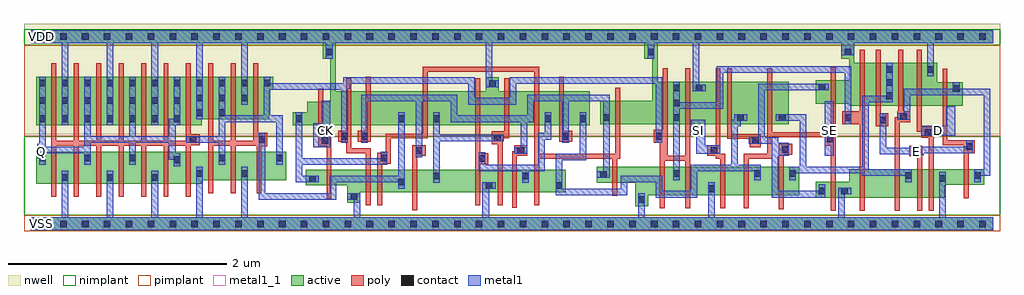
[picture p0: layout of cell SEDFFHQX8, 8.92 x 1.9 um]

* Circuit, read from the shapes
.subckt SEDFFHQX8 CK D E Q SE SI VDD VSS
M1 VSS n1 Q VSS nfet w=0.295u l=0.045u m=7
M2 n1 n2 VSS VSS nfet w=0.26u l=0.045u m=3
M3 VSS CK n3 VSS nfet w=0.145u l=0.045u
M4 n4 n1 VSS VSS nfet w=0.205u l=0.045u
M5 n2 n3 n4 VSS nfet w=0.205u l=0.045u
M6 n5 n6 n2 VSS nfet w=0.205u l=0.045u
M7 VSS n7 n5 VSS nfet w=0.205u l=0.045u
M8 n8 n5 VSS VSS nfet w=0.205u l=0.045u
M9 n7 n6 n8 VSS nfet w=0.205u l=0.045u
M10 n9 n3 n7 VSS nfet w=0.205u l=0.045u
M11 VSS n3 n6 VSS nfet w=0.145u l=0.045u
M12 n10 n1 VSS VSS nfet w=0.26u l=0.045u m=2
M13 n11 SI VSS VSS nfet w=0.26u l=0.045u
M14 n9 SE n11 VSS nfet w=0.26u l=0.045u
M15 n12 n13 n9 VSS nfet w=0.26u l=0.045u
M16 VSS SE n13 VSS nfet w=0.145u l=0.045u
M17 n14 n10 VSS VSS nfet w=0.26u l=0.045u
M18 n12 n15 n14 VSS nfet w=0.26u l=0.045u
M19 n16 E n12 VSS nfet w=0.26u l=0.045u
M20 VSS D n16 VSS nfet w=0.26u l=0.045u
M21 n15 E VSS VSS nfet w=0.145u l=0.045u
M22 VDD n1 Q VDD pfet w=0.445u l=0.045u m=7
M23 n1 n2 VDD VDD pfet w=0.39u l=0.045u m=3
M24 VDD CK n3 VDD pfet w=0.215u l=0.045u
M25 n17 n1 VDD VDD pfet w=0.31u l=0.045u
M26 n2 n6 n17 VDD pfet w=0.31u l=0.045u
M27 n5 n3 n2 VDD pfet w=0.31u l=0.045u
M28 VDD n7 n5 VDD pfet w=0.31u l=0.045u
M29 n18 n5 VDD VDD pfet w=0.31u l=0.045u
M30 n7 n3 n18 VDD pfet w=0.31u l=0.045u
M31 n9 n6 n7 VDD pfet w=0.31u l=0.045u
M32 VDD n3 n6 VDD pfet w=0.215u l=0.045u
M33 n10 n1 VDD VDD pfet w=0.39u l=0.045u m=2
M34 n19 SI VDD VDD pfet w=0.39u l=0.045u
M35 n9 n13 n19 VDD pfet w=0.39u l=0.045u
M36 n12 SE n9 VDD pfet w=0.39u l=0.045u
M37 VDD SE n13 VDD pfet w=0.215u l=0.045u
M38 n20 n10 VDD VDD pfet w=0.39u l=0.045u
M39 n12 E n20 VDD pfet w=0.39u l=0.045u
M40 n21 n15 n12 VDD pfet w=0.39u l=0.045u
M41 VDD D n21 VDD pfet w=0.39u l=0.045u
M42 n15 E VDD VDD pfet w=0.215u l=0.045u
.ends

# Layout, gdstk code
import gdstk
lib = gdstk.Library(unit=1e-6, precision=5e-10)
def R(c, l, rs):  # rectangles x0, y0, x1, y1
    for r in rs: c.add(gdstk.rectangle(r[:2], r[2:], *l))
def A(c, l, x, y, w, h, nx, ny, dx, dy):  # array of equal rectangles
    R(c, l, [(x+i*dx, y+j*dy, x+i*dx+w, y+j*dy+h) for i in range(nx) for j in range(ny)])
def P(c, l, *ps):  # polygons
    for p in ps: c.add(gdstk.Polygon(p, *l))
active = (1, 0)
nwell = (2, 0)
poly = (3, 0)
nimplant = (4, 0)
pimplant = (5, 0)
contact = (6, 0)
metal1 = (7, 0)
metal1_1 = (7, 1)

sedffhqx8 = lib.new_cell('SEDFFHQX8')
R(sedffhqx8, active, [(0,-0.06,8.8,0.06)])
P(sedffhqx8, active, [(0,1.77),(8.8,1.77),(8.8,1.65),(7.53,1.65),(7.53,1.47),(8.285,1.47),(8.285,1.295),(8.52,1.295),(8.52,1.08),(7.48,1.08),(7.48,1.095),(7.175,1.095),(7.175,1.31),(7.48,1.31),(7.48,1.51),(7.41,1.51),(7.41,1.65),(5.73,1.65),(5.73,1.3),(6.93,1.3),(6.93,0.91),(5.205,0.91),(5.205,1.125),(5.68,1.125),(5.68,1.51),(5.61,1.51),(5.61,1.65),(2.79,1.65),(2.79,1.21),(4.16,1.21),(4.16,1.34),(4.28,1.34),(4.28,1.21),(5.11,1.21),(5.11,0.9),(2.395,0.9),(2.395,1.02),(2.53,1.02),(2.53,1.115),(2.74,1.115),(2.74,1.51),(2.67,1.51),(2.67,1.65),(0,1.65)],
  [(0.05,1.345),(2.22,1.345),(2.22,1.225),(2.18,1.225),(2.18,0.955),(1.565,0.955),(1.565,0.9),(0.05,0.9)],
  [(0.05,0.66),(2.335,0.66),(2.335,0.4),(1.565,0.4),(1.565,0.365),(0.05,0.365)],
  [(5.175,0.52),(7.025,0.52),(7.025,0.26),(5.645,0.26),(5.645,0.16),(5.525,0.16),(5.525,0.375),(5.175,0.375)],
  [(2.515,0.495),(4.89,0.495),(4.89,0.29),(3.015,0.29),(3.015,0.19),(2.895,0.19),(2.895,0.35),(2.515,0.35)],
  [(7.48,0.5),(8.715,0.5),(8.715,0.355),(8.355,0.355),(8.355,0.24),(7.175,0.24),(7.175,0.385),(7.48,0.385)])
R(sedffhqx8, nwell, [(-0.06,0.82,8.86,1.83)])
P(sedffhqx8, poly, [(0.19,1.465),(0.235,1.465),(0.235,0.76),(0.395,0.76),(0.395,1.465),(0.44,1.465),(0.44,0.76),(0.6,0.76),(0.6,1.465),(0.645,1.465),(0.645,0.76),(0.805,0.76),(0.805,1.465),(0.85,1.465),(0.85,0.76),(1.01,0.76),(1.01,1.465),(1.055,1.465),(1.055,0.76),(1.215,0.76),(1.215,1.465),(1.26,1.465),(1.26,0.76),(1.42,0.76),(1.42,1.465),(1.465,1.465),(1.465,0.82),(1.545,0.82),(1.545,0.72),(1.465,0.72),(1.465,0.245),(1.42,0.245),(1.42,0.715),(1.26,0.715),(1.26,0.245),(1.215,0.245),(1.215,0.715),(1.055,0.715),(1.055,0.245),(1.01,0.245),(1.01,0.715),(0.85,0.715),(0.85,0.245),(0.805,0.245),(0.805,0.715),(0.645,0.715),(0.645,0.245),(0.6,0.245),(0.6,0.715),(0.44,0.715),(0.44,0.245),(0.395,0.245),(0.395,0.715),(0.235,0.715),(0.235,0.245),(0.19,0.245)],
  [(1.625,1.465),(1.67,1.465),(1.67,0.76),(1.83,0.76),(1.83,1.465),(1.875,1.465),(1.875,0.76),(2.035,0.76),(2.035,1.465),(2.08,1.465),(2.08,0.83),(2.165,0.83),(2.165,0.71),(2.11,0.71),(2.11,0.28),(2.065,0.28),(2.065,0.715),(1.875,0.715),(1.875,0.28),(1.83,0.28),(1.83,0.715),(1.67,0.715),(1.67,0.28),(1.625,0.28)],
  [(3.585,1.435),(4.65,1.435),(4.65,0.64),(5.345,0.64),(5.345,1.245),(5.39,1.245),(5.39,0.595),(5.36,0.595),(5.36,0.255),(5.315,0.255),(5.315,0.595),(4.65,0.595),(4.65,0.17),(4.605,0.17),(4.605,1.39),(3.63,1.39),(3.63,0.78),(3.29,0.78),(3.29,0.55),(3.215,0.55),(3.215,0.17),(3.17,0.17),(3.17,0.65),(3.245,0.65),(3.245,0.825),(3.585,0.825)],
  [(2.63,1.235),(2.675,1.235),(2.675,0.81),(2.75,0.81),(2.75,0.23),(2.705,0.23),(2.705,0.71),(2.63,0.71)],
  [(2.885,1.33),(2.93,1.33),(2.93,0.69),(3.11,0.69),(3.11,0.17),(3.065,0.17),(3.065,0.645),(2.885,0.645),(2.885,0.75),(2.81,0.75),(2.81,0.85),(2.885,0.85)],
  [(3.065,1.345),(3.11,1.345),(3.11,0.75),(2.99,0.75),(2.99,0.85),(3.065,0.85)],
  [(4.065,1.33),(4.11,1.33),(4.11,0.645),(4.185,0.645),(4.185,0.545),(4.11,0.545),(4.11,0.17),(4.065,0.17)],
  [(4.33,1.33),(4.375,1.33),(4.375,0.78),(4.315,0.78),(4.315,0.17),(4.27,0.17),(4.27,0.725),(4.215,0.725),(4.215,0.845),(4.33,0.845)],
  [(4.83,1.345),(4.875,1.345),(4.875,0.85),(4.95,0.85),(4.95,0.75),(4.83,0.75)],
  [(5.78,1.42),(5.825,1.42),(5.825,0.62),(5.985,0.62),(5.985,1.42),(6.03,1.42),(6.03,0.14),(5.985,0.14),(5.985,0.575),(5.795,0.575),(5.795,0.14),(5.75,0.14),(5.75,0.74),(5.695,0.74),(5.695,0.86),(5.78,0.86)],
  [(6.26,1.42),(6.305,1.42),(6.305,0.64),(6.35,0.64),(6.35,0.14),(6.305,0.14),(6.305,0.595),(6.26,0.595),(6.26,0.62),(6.185,0.62),(6.185,0.72),(6.26,0.72)],
  [(6.365,1.42),(6.41,1.42),(6.41,0.82),(6.675,0.82),(6.675,0.7),(6.575,0.7),(6.575,0.775),(6.365,0.775)],
  [(6.735,1.42),(6.78,1.42),(6.78,0.835),(7.315,0.835),(7.315,1.43),(7.36,1.43),(7.36,0.12),(7.315,0.12),(7.315,0.715),(7.26,0.715),(7.26,0.79),(6.78,0.79),(6.78,0.595),(6.565,0.595),(6.565,0.14),(6.52,0.14),(6.52,0.64),(6.735,0.64)],
  [(7.58,1.59),(7.625,1.59),(7.625,0.12),(7.58,0.12),(7.58,0.91),(7.42,0.91),(7.42,1.03),(7.58,1.03)],
  [(7.725,1.59),(7.77,1.59),(7.77,1.01),(7.84,1.01),(7.84,0.89),(7.725,0.89)],
  [(7.93,1.59),(7.975,1.59),(7.975,1.03),(8.04,1.03),(8.04,0.93),(7.945,0.93),(7.945,0.12),(7.9,0.12),(7.9,0.975),(7.92,0.975),(7.92,1.03),(7.93,1.03)],
  [(8.1,1.59),(8.145,1.59),(8.145,0.885),(8.26,0.885),(8.26,0.785),(8.255,0.785),(8.255,0.12),(8.21,0.12),(8.21,0.785),(8.14,0.785),(8.14,0.84),(8.1,0.84)],
  [(8.335,1.415),(8.38,1.415),(8.38,0.765),(8.63,0.765),(8.63,0.645),(8.575,0.645),(8.575,0.235),(8.53,0.235),(8.53,0.72),(8.335,0.72)],
  [(6.84,0.73),(6.96,0.73),(6.96,0.63),(6.885,0.63),(6.885,0.135),(6.84,0.135)],
  [(3.49,0.72),(3.61,0.72),(3.61,0.62),(3.535,0.62),(3.535,0.125),(3.49,0.125)],
  [(4.42,0.72),(4.54,0.72),(4.54,0.62),(4.445,0.62),(4.445,0.145),(4.4,0.145),(4.4,0.665),(4.42,0.665)],
  [(8.03,0.715),(8.15,0.715),(8.15,0.12),(8.105,0.12),(8.105,0.615),(8.03,0.615)])
R(sedffhqx8, nimplant, [(-0.06,0.08,8.86,0.8), (-0.06,1.63,8.86,1.78)])
R(sedffhqx8, pimplant, [(-0.06,-0.07,8.86,0.08), (-0.06,0.8,8.86,1.63)])
A(sedffhqx8, contact, 0.07, -0.03, 0.06, 0.06, 44, 2, 0.2, 1.71)
A(sedffhqx8, contact, 0.285, 0.395, 0.06, 0.06, 3, 1, 0.41, 0)
A(sedffhqx8, contact, 0.08, 0.57, 0.06, 0.06, 3, 1, 0.41, 0)
A(sedffhqx8, contact, 0.08, 0.93, 0.06, 0.06, 7, 2, 0.205, 0.165)
A(sedffhqx8, contact, 5.875, 0.94, 0.06, 0.06, 1, 3, 0, 0.135)
A(sedffhqx8, contact, 1.515, 1.12, 0.06, 0.06, 3, 1, 0.205, 0)
A(sedffhqx8, contact, 7.82, 1.14, 0.06, 0.06, 1, 3, 0, 0.12)
A(sedffhqx8, contact, 0.08, 1.255, 0.06, 0.06, 11, 1, 0.205, 0)
R(sedffhqx8, contact, [(5.555,0.19,5.615,0.25), (2.925,0.22,2.985,0.28), (7.205,0.27,7.265,0.33), (7.41,0.27,7.47,0.33), (6.195,0.29,6.255,0.35), (4.16,0.32,4.22,0.38), (4.8,0.32,4.86,0.38), (3.36,0.35,3.42,0.41), (2.545,0.38,2.605,0.44), (8.305,0.385,8.365,0.445), (3.68,0.405,3.74,0.465), (4.495,0.405,4.555,0.465), (7.995,0.41,8.055,0.47), (8.625,0.41,8.685,0.47), (5.205,0.42,5.265,0.48), (1.515,0.43,1.575,0.49), (1.925,0.43,1.985,0.49), (5.875,0.43,5.935,0.49), (6.615,0.43,6.675,0.49), (6.935,0.43,6.995,0.49), (1.31,0.555,1.37,0.615), (4.095,0.565,4.155,0.625), (1.72,0.57,1.78,0.63), (2.245,0.57,2.305,0.63), (3.2,0.57,3.26,0.63), (8.06,0.635,8.12,0.695), (3.52,0.64,3.58,0.7), (4.45,0.64,4.51,0.7), (6.215,0.64,6.275,0.7), (6.87,0.65,6.93,0.71), (8.55,0.675,8.61,0.735), (2.66,0.73,2.72,0.79), (6.595,0.73,6.655,0.79), (1.455,0.74,1.515,0.8), (2.085,0.74,2.145,0.8), (7.28,0.745,7.34,0.805), (4.235,0.755,4.295,0.815), (2.84,0.77,2.9,0.83), (3.02,0.77,3.08,0.83), (4.86,0.77,4.92,0.83), (5.715,0.77,5.775,0.83), (8.17,0.805,8.23,0.865), (7.76,0.92,7.82,0.98), (2.425,0.93,2.485,0.99), (3.36,0.93,3.42,0.99), (3.68,0.93,3.74,0.99), (4.7,0.93,4.76,0.99), (5.02,0.93,5.08,0.99), (5.235,0.94,5.295,1), (6.46,0.94,6.52,1), (6.84,0.94,6.9,1), (7.44,0.94,7.5,1), (7.95,0.95,8.01,1.01), (1.515,0.985,1.575,1.045), (1.72,0.985,1.78,1.045), (8.43,1.205,8.49,1.265), (6.08,1.21,6.14,1.27), (7.205,1.22,7.265,1.28), (4.19,1.25,4.25,1.31), (8.195,1.38,8.255,1.44), (2.7,1.54,2.76,1.6), (5.64,1.54,5.7,1.6), (7.44,1.54,7.5,1.6)])
R(sedffhqx8, metal1, [(7.26,0.62,7.34,1.12)])
P(sedffhqx8, metal1, [(0,1.77),(8.8,1.77),(8.8,1.65),(8.255,1.65),(8.255,1.35),(8.195,1.35),(8.195,1.65),(7.53,1.65),(7.53,1.54),(7.41,1.54),(7.41,1.65),(6.11,1.65),(6.11,1.27),(6.17,1.27),(6.17,1.21),(6.05,1.21),(6.05,1.65),(5.7,1.65),(5.7,1.51),(5.64,1.51),(5.64,1.65),(4.22,1.65),(4.22,1.31),(4.28,1.31),(4.28,1.25),(4.16,1.25),(4.16,1.65),(2.76,1.65),(2.76,1.51),(2.7,1.51),(2.7,1.65),(1.985,1.65),(1.985,1.09),(1.925,1.09),(1.925,1.65),(1.575,1.65),(1.575,0.955),(1.515,0.955),(1.515,1.65),(1.165,1.65),(1.165,0.9),(1.105,0.9),(1.105,1.65),(0.755,1.65),(0.755,0.9),(0.695,0.9),(0.695,1.65),(0.345,1.65),(0.345,0.9),(0.285,0.9),(0.285,1.65),(0,1.65)],
  [(0.08,1.345),(0.14,1.345),(0.14,0.705),(0.49,0.705),(0.49,1.345),(0.55,1.345),(0.55,0.8),(0.9,0.8),(0.9,1.345),(0.96,1.345),(0.96,0.8),(1.265,0.8),(1.265,0.96),(1.31,0.96),(1.31,1.345),(1.37,1.345),(1.37,0.9),(1.325,0.9),(1.325,0.645),(1.37,0.645),(1.37,0.525),(1.31,0.525),(1.31,0.585),(1.265,0.585),(1.265,0.74),(0.96,0.74),(0.96,0.54),(0.9,0.54),(0.9,0.74),(0.55,0.74),(0.55,0.54),(0.49,0.54),(0.49,0.645),(0.14,0.645),(0.14,0.54),(0.08,0.54),(0.08,0.6),(0.06,0.6),(0.06,0.73),(0.08,0.73)],
  [(1.72,1.345),(1.78,1.345),(1.78,0.99),(2.13,0.99),(2.13,1.345),(2.19,1.345),(2.19,1.285),(2.86,1.285),(2.86,1.34),(4.06,1.34),(4.06,1.15),(4.38,1.15),(4.38,1.34),(5.775,1.34),(5.775,0.74),(5.715,0.74),(5.715,1.28),(4.44,1.28),(4.44,1.09),(4,1.09),(4,1.28),(2.92,1.28),(2.92,1.235),(2.9,1.235),(2.9,0.74),(2.84,0.74),(2.84,1.225),(2.19,1.225),(2.19,0.99),(2.305,0.99),(2.305,0.54),(2.245,0.54),(2.245,0.93),(1.78,0.93),(1.78,0.54),(1.72,0.54),(1.72,0.74),(1.425,0.74),(1.425,0.8),(1.72,0.8)],
  [(3.02,1.18),(3.9,1.18),(3.9,0.99),(4.54,0.99),(4.54,1.18),(5.295,1.18),(5.295,0.42),(5.175,0.42),(5.175,0.48),(5.235,0.48),(5.235,1.12),(4.92,1.12),(4.92,0.74),(4.86,0.74),(4.86,1.12),(4.6,1.12),(4.6,0.93),(4.54,0.93),(4.54,0.64),(4.42,0.64),(4.42,0.7),(4.48,0.7),(4.48,0.93),(3.84,0.93),(3.84,1.12),(3.58,1.12),(3.58,0.61),(3.52,0.61),(3.52,1.12),(3.08,1.12),(3.08,0.74),(3.02,0.74)],
  [(2.425,1.02),(2.485,1.02),(2.485,0.6),(3.2,0.6),(3.2,0.66),(3.26,0.66),(3.26,0.54),(2.485,0.54),(2.485,0.44),(2.635,0.44),(2.635,0.38),(2.425,0.38)],
  [(0.285,0.485),(0.345,0.485),(0.345,0.06),(0.695,0.06),(0.695,0.485),(0.755,0.485),(0.755,0.06),(1.105,0.06),(1.105,0.485),(1.165,0.485),(1.165,0.06),(1.515,0.06),(1.515,0.52),(1.575,0.52),(1.575,0.06),(1.925,0.06),(1.925,0.52),(1.985,0.52),(1.985,0.06),(2.955,0.06),(2.955,0.22),(2.895,0.22),(2.895,0.28),(3.015,0.28),(3.015,0.06),(4.13,0.06),(4.13,0.38),(4.25,0.38),(4.25,0.32),(4.19,0.32),(4.19,0.06),(5.555,0.06),(5.555,0.28),(5.615,0.28),(5.615,0.06),(6.195,0.06),(6.195,0.38),(6.255,0.38),(6.255,0.06),(7.38,0.06),(7.38,0.33),(7.5,0.33),(7.5,0.27),(7.44,0.27),(7.44,0.06),(8.305,0.06),(8.305,0.475),(8.365,0.475),(8.365,0.06),(8.8,0.06),(8.8,-0.06),(0,-0.06),(0,0.06),(0.285,0.06)],
  [(2.085,0.83),(2.145,0.83),(2.145,0.28),(2.735,0.28),(2.735,0.44),(3.36,0.44),(3.36,1.02),(3.42,1.02),(3.42,0.32),(3.36,0.32),(3.36,0.38),(2.795,0.38),(2.795,0.22),(2.085,0.22)],
  [(2.66,1.125),(2.74,1.125),(2.74,0.7),(2.585,0.7),(2.585,0.92),(2.66,0.92)],
  [(3.68,1.02),(3.74,1.02),(3.74,0.815),(4.325,0.815),(4.325,0.755),(3.74,0.755),(3.74,0.375),(3.68,0.375)],
  [(6.27,1.44),(7.5,1.44),(7.5,0.91),(7.44,0.91),(7.44,1.38),(6.33,1.38),(6.33,1.05),(5.935,1.05),(5.935,0.4),(5.875,0.4),(5.875,1.3),(5.935,1.3),(5.935,1.11),(6.27,1.11)],
  [(4.7,1.02),(4.76,1.02),(4.76,0.77),(4.7,0.77),(4.7,0.48),(4.555,0.48),(4.555,0.375),(4.495,0.375),(4.495,0.48),(4.095,0.48),(4.095,0.655),(4.155,0.655),(4.155,0.54),(4.64,0.54),(4.64,0.83),(4.7,0.83)],
  [(5.02,1.02),(5.08,1.02),(5.08,0.58),(4.86,0.58),(4.86,0.32),(5.395,0.32),(5.395,0.44),(5.775,0.44),(5.775,0.3),(6.035,0.3),(6.035,0.54),(6.405,0.54),(6.405,0.95),(6.43,0.95),(6.43,1),(6.55,1),(6.55,0.94),(6.49,0.94),(6.49,0.89),(6.465,0.89),(6.465,0.54),(6.675,0.54),(6.675,0.4),(6.615,0.4),(6.615,0.48),(6.095,0.48),(6.095,0.24),(5.715,0.24),(5.715,0.38),(5.455,0.38),(5.455,0.26),(4.8,0.26),(4.8,0.64),(5.02,0.64)],
  [(7.82,1.47),(7.88,1.47),(7.88,1.11),(7.66,1.11),(7.66,0.5),(8.055,0.5),(8.055,0.38),(7.995,0.38),(7.995,0.44),(7.6,0.44),(7.6,0.46),(6.995,0.46),(6.995,0.4),(6.935,0.4),(6.935,0.52),(7.03,0.52),(7.03,0.94),(6.81,0.94),(6.81,1),(7.09,1),(7.09,0.52),(7.6,0.52),(7.6,1.17),(7.82,1.17)],
  [(6.65,1.28),(7.295,1.28),(7.295,1.22),(6.71,1.22),(6.71,0.79),(6.835,0.79),(6.835,0.74),(6.93,0.74),(6.93,0.62),(6.835,0.62),(6.835,0.3),(7.205,0.3),(7.205,0.36),(7.265,0.36),(7.265,0.24),(6.775,0.24),(6.775,0.73),(6.565,0.73),(6.565,0.79),(6.65,0.79)],
  [(6.035,0.95),(6.165,0.95),(6.165,0.72),(6.305,0.72),(6.305,0.64),(6.085,0.64),(6.085,0.815),(6.035,0.815)],
  [(8.43,1.295),(8.49,1.295),(8.49,1.235),(8.77,1.235),(8.77,0.44),(8.685,0.44),(8.685,0.38),(8.625,0.38),(8.625,0.5),(8.71,0.5),(8.71,1.175),(8.04,1.175),(8.04,0.95),(7.92,0.95),(7.92,1.01),(7.98,1.01),(7.98,1.235),(8.43,1.235)],
  [(7.76,1.01),(7.82,1.01),(7.82,0.695),(8.035,0.695),(8.035,0.705),(8.55,0.705),(8.55,0.765),(8.61,0.765),(8.61,0.645),(8.165,0.645),(8.165,0.625),(8.035,0.625),(8.035,0.635),(7.76,0.635)],
  [(8.37,1.075),(8.45,1.075),(8.45,0.805),(8.14,0.805),(8.14,0.895),(8.37,0.895)])
R(sedffhqx8, metal1_1, [(0.06,-0.04,0.14,0.04), (0.06,0.625,0.14,0.705), (8.06,0.625,8.14,0.705), (2.66,0.815,2.74,0.895), (6.06,0.815,6.14,0.895), (7.26,0.815,7.34,0.895), (8.26,0.815,8.34,0.895), (0.06,1.67,0.14,1.75)])
sedffhqx8.add(gdstk.Label('E', (8.1,0.665), layer=7, texttype=1))
sedffhqx8.add(gdstk.Label('D', (8.3,0.855), layer=7, texttype=1))
sedffhqx8.add(gdstk.Label('SE', (7.3,0.855), layer=7, texttype=1))
sedffhqx8.add(gdstk.Label('SI', (6.1,0.855), layer=7, texttype=1))
sedffhqx8.add(gdstk.Label('CK', (2.7,0.855), layer=7, texttype=1))
sedffhqx8.add(gdstk.Label('Q', (0.1,0.665), layer=7, texttype=1))
sedffhqx8.add(gdstk.Label('VDD', (0.1,1.71), layer=7, texttype=1))
sedffhqx8.add(gdstk.Label('VSS', (0.1,0), layer=7, texttype=1))
sedffhqx8.add(gdstk.Label('SEDFFHQX8', (0,0), layer=63, texttype=0))

lib.write_gds('SEDFFHQX8.gds')
